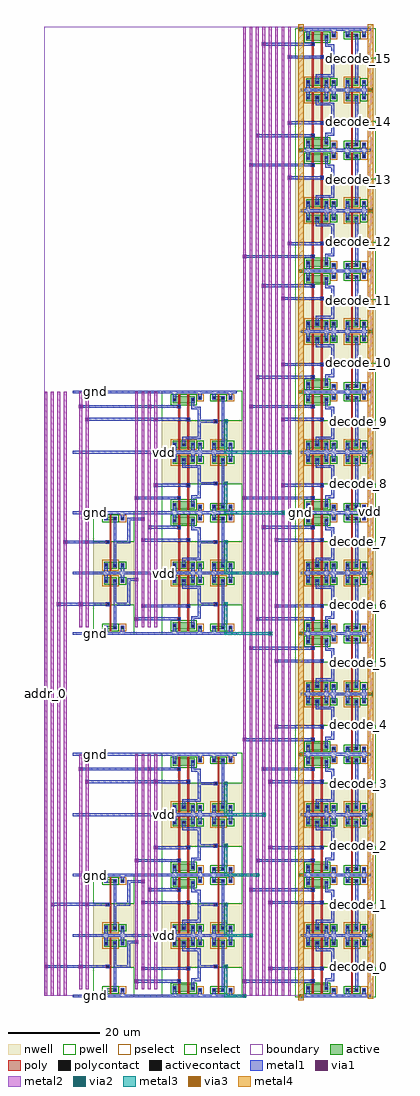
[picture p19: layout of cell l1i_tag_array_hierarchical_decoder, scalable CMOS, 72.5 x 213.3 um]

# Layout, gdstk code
import gdstk
lib = gdstk.Library(unit=1e-6, precision=1e-09)
def R(c, l, rs):  # rectangles x0, y0, x1, y1
    for r in rs: c.add(gdstk.rectangle(r[:2], r[2:], *l))
def A(c, l, x, y, w, h, nx, ny, dx, dy):  # array of equal rectangles
    R(c, l, [(x+i*dx, y+j*dy, x+i*dx+w, y+j*dy+h) for i in range(nx) for j in range(ny)])
via3 = (30, 0)
metal4 = (31, 0)
pwell = (41, 0)
nwell = (42, 0)
active = (43, 0)
pselect = (44, 0)
nselect = (45, 0)
poly = (46, 0)
polycontact = (47, 0)
activecontact = (48, 0)
metal1 = (49, 0)
via1 = (50, 0)
metal2 = (51, 0)
via2 = (61, 0)
metal3 = (62, 0)
boundary = (63, 0)

l1i_tag_array_contact_11 = lib.new_cell('l1i_tag_array_contact_11')
R(l1i_tag_array_contact_11, nwell, [(-1.2,-1.2,2,2)])
R(l1i_tag_array_contact_11, active, [(0,0,0.8,0.8)])
R(l1i_tag_array_contact_11, pselect, [(-0.4,-0.4,1.2,1.2)])
R(l1i_tag_array_contact_11, activecontact, [(0.2,0.2,0.6,0.6)])
R(l1i_tag_array_contact_11, metal1, [(0,0,0.8,0.8)])
R(l1i_tag_array_contact_11, boundary, [(-1.2,-1.2,2,2)])

l1i_tag_array_pmos_m1_w1 = lib.new_cell('l1i_tag_array_pmos_m1_w1_600_sm1_dm1_da_p')
R(l1i_tag_array_pmos_m1_w1, nwell, [(-1.2,-1.2,4,2.8)])
R(l1i_tag_array_pmos_m1_w1, active, [(0,0,2.8,1.6)])
R(l1i_tag_array_pmos_m1_w1, pselect, [(-0.4,-0.4,3.2,2)])
R(l1i_tag_array_pmos_m1_w1, poly, [(1.2,-0.4,1.6,2), (1.2,-0.4,1.6,2)])
R(l1i_tag_array_pmos_m1_w1, metal1, [(0,0.4,0.8,1.2), (2,0.4,2.8,1.2)])
R(l1i_tag_array_pmos_m1_w1, boundary, [(-1.2,-1.2,4,2.8)])
l1i_tag_array_pmos_m1_w1.add(gdstk.Reference(l1i_tag_array_contact_11, (0,0.4)))
l1i_tag_array_pmos_m1_w1.add(gdstk.Reference(l1i_tag_array_contact_11, (2,0.4)))
l1i_tag_array_pmos_m1_w1.add(gdstk.Label('G', (1.4,0.8), layer=46, texttype=0))
l1i_tag_array_pmos_m1_w1.add(gdstk.Label('S', (0.4,0.8), layer=49, texttype=0))
l1i_tag_array_pmos_m1_w1.add(gdstk.Label('D', (2.4,0.8), layer=49, texttype=0))

l1i_tag_array_contact_10 = lib.new_cell('l1i_tag_array_contact_10')
R(l1i_tag_array_contact_10, pwell, [(-1.2,-1.2,2,2)])
R(l1i_tag_array_contact_10, active, [(0,0,0.8,0.8)])
R(l1i_tag_array_contact_10, nselect, [(-0.4,-0.4,1.2,1.2)])
R(l1i_tag_array_contact_10, activecontact, [(0.2,0.2,0.6,0.6)])
R(l1i_tag_array_contact_10, metal1, [(0,0,0.8,0.8)])
R(l1i_tag_array_contact_10, boundary, [(-1.2,-1.2,2,2)])

l1i_tag_array_nmos_m1_w0 = lib.new_cell('l1i_tag_array_nmos_m1_w0_800_sm1_dm1_da_p')
R(l1i_tag_array_nmos_m1_w0, pwell, [(-1.2,-1.2,4,2)])
R(l1i_tag_array_nmos_m1_w0, active, [(0,0,2.8,0.8)])
R(l1i_tag_array_nmos_m1_w0, nselect, [(-0.4,-0.4,3.2,1.2)])
R(l1i_tag_array_nmos_m1_w0, poly, [(1.2,-0.4,1.6,1.2), (1.2,-0.4,1.6,1.2)])
R(l1i_tag_array_nmos_m1_w0, metal1, [(0,0,0.8,0.8), (2,0,2.8,0.8)])
R(l1i_tag_array_nmos_m1_w0, boundary, [(-1.2,-1.2,4,2)])
l1i_tag_array_nmos_m1_w0.add(gdstk.Reference(l1i_tag_array_contact_10, (0,0)))
l1i_tag_array_nmos_m1_w0.add(gdstk.Reference(l1i_tag_array_contact_10, (2,0)))
l1i_tag_array_nmos_m1_w0.add(gdstk.Label('G', (1.4,0.4), layer=46, texttype=0))
l1i_tag_array_nmos_m1_w0.add(gdstk.Label('S', (0.4,0.4), layer=49, texttype=0))
l1i_tag_array_nmos_m1_w0.add(gdstk.Label('D', (2.4,0.4), layer=49, texttype=0))

l1i_tag_array_contact_12 = lib.new_cell('l1i_tag_array_contact_12')
R(l1i_tag_array_contact_12, nwell, [(-1.2,-1.2,2,2)])
R(l1i_tag_array_contact_12, active, [(0,0,0.8,0.8)])
R(l1i_tag_array_contact_12, nselect, [(-0.4,-0.4,1.2,1.2)])
R(l1i_tag_array_contact_12, activecontact, [(0.2,0.2,0.6,0.6)])
R(l1i_tag_array_contact_12, metal1, [(0,0,0.8,0.8)])
R(l1i_tag_array_contact_12, boundary, [(-1.2,-1.2,2,2)])

l1i_tag_array_contact_13 = lib.new_cell('l1i_tag_array_contact_13')
R(l1i_tag_array_contact_13, pwell, [(-1.2,-1.2,2,2)])
R(l1i_tag_array_contact_13, active, [(0,0,0.8,0.8)])
R(l1i_tag_array_contact_13, pselect, [(-0.4,-0.4,1.2,1.2)])
R(l1i_tag_array_contact_13, activecontact, [(0.2,0.2,0.6,0.6)])
R(l1i_tag_array_contact_13, metal1, [(0,0,0.8,0.8)])
R(l1i_tag_array_contact_13, boundary, [(-1.2,-1.2,2,2)])

l1i_tag_array_contact_14 = lib.new_cell('l1i_tag_array_contact_14')
R(l1i_tag_array_contact_14, poly, [(0,0,0.8,0.8)])
R(l1i_tag_array_contact_14, polycontact, [(0.2,0.2,0.6,0.6)])
R(l1i_tag_array_contact_14, metal1, [(0,0,0.8,0.8)])
R(l1i_tag_array_contact_14, boundary, [(0,0,0.8,0.8)])

l1i_tag_array_pinv = lib.new_cell('l1i_tag_array_pinv')
R(l1i_tag_array_pinv, pwell, [(-1.2,-0.3,7.8,6.3)])
R(l1i_tag_array_pinv, nwell, [(-1.2,6.3,7.8,14.7)])
R(l1i_tag_array_pinv, poly, [(2.4,2.1,2.8,10.3), (2,6,2.4,6.8)])
R(l1i_tag_array_pinv, metal1, [(0,-0.3,6.6,0.3), (1.2,-0.3,2,0.9), (4.8,0,5.6,1.3), (3.3,0.9,3.9,11.9), (1.6,6,2.4,6.8), (3.6,6.1,4.2,6.7), (1.2,11.1,2,13.5), (4.8,11.5,5.6,13.2), (0,12.9,6.6,13.5)])
R(l1i_tag_array_pinv, boundary, [(0,0,6.6,13.2), (0,0,6.6,13.2)])
l1i_tag_array_pinv.add(gdstk.Reference(l1i_tag_array_pmos_m1_w1, (1.2,10.7)))
l1i_tag_array_pinv.add(gdstk.Reference(l1i_tag_array_nmos_m1_w0, (1.2,0.9)))
l1i_tag_array_pinv.add(gdstk.Reference(l1i_tag_array_contact_12, (4.8,11.1)))
l1i_tag_array_pinv.add(gdstk.Reference(l1i_tag_array_contact_13, (4.8,0.9)))
l1i_tag_array_pinv.add(gdstk.Reference(l1i_tag_array_contact_14, (1.6,6)))
l1i_tag_array_pinv.add(gdstk.Label('A', (2,6.4), layer=49, texttype=0))
l1i_tag_array_pinv.add(gdstk.Label('Z', (3.9,6.4), layer=49, texttype=0))
l1i_tag_array_pinv.add(gdstk.Label('gnd', (3.3,0), layer=49, texttype=0))
l1i_tag_array_pinv.add(gdstk.Label('vdd', (3.3,13.2), layer=49, texttype=0))

c_l1i_tag_array_pmos_m1_w1 = lib.new_cell('l1i_tag_array_pmos_m1_w1_600_sm1_dm1')
R(c_l1i_tag_array_pmos_m1_w1, nwell, [(-1.2,-1.2,4,2.8)])
R(c_l1i_tag_array_pmos_m1_w1, active, [(0,0,2.8,1.6)])
R(c_l1i_tag_array_pmos_m1_w1, pselect, [(-0.4,-0.4,3.2,2)])
R(c_l1i_tag_array_pmos_m1_w1, poly, [(1.2,-0.4,1.6,2), (1.2,-0.4,1.6,2)])
R(c_l1i_tag_array_pmos_m1_w1, metal1, [(0,0.4,0.8,1.2), (2,0.4,2.8,1.2)])
R(c_l1i_tag_array_pmos_m1_w1, boundary, [(-1.2,-1.2,4,2.8)])
c_l1i_tag_array_pmos_m1_w1.add(gdstk.Reference(l1i_tag_array_contact_11, (0,0.4)))
c_l1i_tag_array_pmos_m1_w1.add(gdstk.Reference(l1i_tag_array_contact_11, (2,0.4)))
c_l1i_tag_array_pmos_m1_w1.add(gdstk.Label('G', (1.4,0.8), layer=46, texttype=0))
c_l1i_tag_array_pmos_m1_w1.add(gdstk.Label('S', (0.4,0.8), layer=49, texttype=0))
c_l1i_tag_array_pmos_m1_w1.add(gdstk.Label('D', (2.4,0.8), layer=49, texttype=0))

l1i_tag_array_nmos_m1_w1 = lib.new_cell('l1i_tag_array_nmos_m1_w1_600_sm1_dactive')
R(l1i_tag_array_nmos_m1_w1, pwell, [(-1.2,-1.2,4,2.8)])
R(l1i_tag_array_nmos_m1_w1, active, [(0,0,2.8,1.6), (2.1,0.5,2.7,1.1)])
R(l1i_tag_array_nmos_m1_w1, nselect, [(-0.4,-0.4,3.2,2)])
R(l1i_tag_array_nmos_m1_w1, poly, [(1.2,-0.4,1.6,2), (1.2,-0.4,1.6,2)])
R(l1i_tag_array_nmos_m1_w1, metal1, [(0,0.4,0.8,1.2)])
R(l1i_tag_array_nmos_m1_w1, boundary, [(-1.2,-1.2,4,2.8)])
l1i_tag_array_nmos_m1_w1.add(gdstk.Reference(l1i_tag_array_contact_10, (0,0.4)))
l1i_tag_array_nmos_m1_w1.add(gdstk.Label('G', (1.4,0.8), layer=46, texttype=0))
l1i_tag_array_nmos_m1_w1.add(gdstk.Label('S', (0.4,0.8), layer=49, texttype=0))
l1i_tag_array_nmos_m1_w1.add(gdstk.Label('D', (2.4,0.8), layer=43, texttype=0))

c_l1i_tag_array_nmos_m1_w1 = lib.new_cell('l1i_tag_array_nmos_m1_w1_600_sactive_dm1')
R(c_l1i_tag_array_nmos_m1_w1, pwell, [(-1.2,-1.2,4,2.8)])
R(c_l1i_tag_array_nmos_m1_w1, active, [(0,0,2.8,1.6), (0.1,0.5,0.7,1.1)])
R(c_l1i_tag_array_nmos_m1_w1, nselect, [(-0.4,-0.4,3.2,2)])
R(c_l1i_tag_array_nmos_m1_w1, poly, [(1.2,-0.4,1.6,2), (1.2,-0.4,1.6,2)])
R(c_l1i_tag_array_nmos_m1_w1, metal1, [(2,0.4,2.8,1.2)])
R(c_l1i_tag_array_nmos_m1_w1, boundary, [(-1.2,-1.2,4,2.8)])
c_l1i_tag_array_nmos_m1_w1.add(gdstk.Reference(l1i_tag_array_contact_10, (2,0.4)))
c_l1i_tag_array_nmos_m1_w1.add(gdstk.Label('G', (1.4,0.8), layer=46, texttype=0))
c_l1i_tag_array_nmos_m1_w1.add(gdstk.Label('S', (0.4,0.8), layer=43, texttype=0))
c_l1i_tag_array_nmos_m1_w1.add(gdstk.Label('D', (2.4,0.8), layer=49, texttype=0))

l1i_tag_array_pnand2 = lib.new_cell('l1i_tag_array_pnand2')
R(l1i_tag_array_pnand2, pwell, [(-1.2,-0.3,9.8,6.3)])
R(l1i_tag_array_pnand2, nwell, [(-1.2,6.3,9.8,14.7)])
R(l1i_tag_array_pnand2, poly, [(2.4,2.8,2.6,3.6), (2.4,2.9,2.8,10.3), (4.4,2.9,4.8,10.3), (4.4,5.6,4.6,6.4)])
R(l1i_tag_array_pnand2, metal1, [(0,-0.3,8.6,0.3), (1.2,-0.3,2,1.3), (6.8,0,7.6,1.3), (5.3,2.1,5.9,3.5), (2.2,2.8,3,3.6), (5.3,3.2,5.9,3.8), (5.6,3.2,7,3.8), (6.7,3.2,7.3,3.8), (6.7,3.5,7.3,10.1), (4.2,5.6,5,6.4), (3.3,9.8,3.9,10.4), (3.6,9.8,7,10.4), (6.7,9.8,7.3,10.4), (3.3,10.1,3.9,11.1), (1.2,11.1,2,13.5), (5.2,11.1,6,13.5), (6.8,11.5,7.6,13.2), (0,12.9,8.6,13.5)])
R(l1i_tag_array_pnand2, boundary, [(0,0,8.6,13.2), (0,0,8.6,13.2)])
l1i_tag_array_pnand2.add(gdstk.Reference(c_l1i_tag_array_pmos_m1_w1, (1.2,10.7)))
l1i_tag_array_pnand2.add(gdstk.Reference(c_l1i_tag_array_pmos_m1_w1, (3.2,10.7)))
l1i_tag_array_pnand2.add(gdstk.Reference(l1i_tag_array_nmos_m1_w1, (1.2,0.9)))
l1i_tag_array_pnand2.add(gdstk.Reference(c_l1i_tag_array_nmos_m1_w1, (3.2,0.9)))
l1i_tag_array_pnand2.add(gdstk.Reference(l1i_tag_array_contact_12, (6.8,11.1)))
l1i_tag_array_pnand2.add(gdstk.Reference(l1i_tag_array_contact_13, (6.8,0.9)))
l1i_tag_array_pnand2.add(gdstk.Reference(l1i_tag_array_contact_14, (2.2,2.8)))
l1i_tag_array_pnand2.add(gdstk.Reference(l1i_tag_array_contact_14, (4.2,5.6)))
l1i_tag_array_pnand2.add(gdstk.Label('Z', (7,10.1), layer=49, texttype=0))
l1i_tag_array_pnand2.add(gdstk.Label('gnd', (4.3,0), layer=49, texttype=0))
l1i_tag_array_pnand2.add(gdstk.Label('vdd', (4.3,13.2), layer=49, texttype=0))
l1i_tag_array_pnand2.add(gdstk.Label('A', (2.6,3.2), layer=49, texttype=0))
l1i_tag_array_pnand2.add(gdstk.Label('B', (4.6,6), layer=49, texttype=0))

l1i_tag_array_and2_dec = lib.new_cell('l1i_tag_array_and2_dec')
R(l1i_tag_array_and2_dec, metal1, [(0,-0.3,15.2,0.3), (2.2,2.8,3,3.6), (4.2,5.6,5,6.4), (6.7,6.1,7.3,6.7), (7,6.1,10.6,6.7), (12.2,6.1,12.8,6.7), (6.7,6.4,7.3,10.1), (0,12.9,15.2,13.5)])
R(l1i_tag_array_and2_dec, boundary, [(0,0,15.2,13.2)])
l1i_tag_array_and2_dec.add(gdstk.Reference(l1i_tag_array_pnand2, (0,0)))
l1i_tag_array_and2_dec.add(gdstk.Reference(l1i_tag_array_pinv, (8.6,0)))
l1i_tag_array_and2_dec.add(gdstk.Label('Z', (12.5,6.4), layer=49, texttype=0))
l1i_tag_array_and2_dec.add(gdstk.Label('A', (2.6,3.2), layer=49, texttype=0))
l1i_tag_array_and2_dec.add(gdstk.Label('B', (4.6,6), layer=49, texttype=0))
l1i_tag_array_and2_dec.add(gdstk.Label('gnd', (7.6,0), layer=49, texttype=0))
l1i_tag_array_and2_dec.add(gdstk.Label('vdd', (7.6,13.2), layer=49, texttype=0))

l1i_tag_array_contact_15 = lib.new_cell('l1i_tag_array_contact_15')
R(l1i_tag_array_contact_15, metal1, [(0,0,0.8,0.8)])
R(l1i_tag_array_contact_15, via1, [(0.2,0.2,0.6,0.6)])
R(l1i_tag_array_contact_15, metal2, [(0,0,0.8,0.8)])
R(l1i_tag_array_contact_15, boundary, [(0,0,0.8,0.8)])

l1i_tag_array_contact_17 = lib.new_cell('l1i_tag_array_contact_17')
R(l1i_tag_array_contact_17, metal1, [(0,0,0.8,0.8)])
R(l1i_tag_array_contact_17, via1, [(0.2,0.2,0.6,0.6)])
R(l1i_tag_array_contact_17, metal2, [(0,0,0.8,0.8)])
R(l1i_tag_array_contact_17, boundary, [(0,0,0.8,0.8)])

l1i_tag_array_contact_18 = lib.new_cell('l1i_tag_array_contact_18')
R(l1i_tag_array_contact_18, metal2, [(0,0,0.8,0.8)])
R(l1i_tag_array_contact_18, via2, [(0.2,0.2,0.6,0.6)])
R(l1i_tag_array_contact_18, metal3, [(0,0,0.8,0.8)])
R(l1i_tag_array_contact_18, boundary, [(0,0,0.8,0.8)])

l1i_tag_array_hierarchic = lib.new_cell('l1i_tag_array_hierarchical_predecode2x4')
R(l1i_tag_array_hierarchic, metal1, [(0,-0.3,35.8,0.3), (13.9,2.9,23.2,3.5), (22.9,2.9,23.5,3.5), (15.3,5.7,25.2,6.3), (24.9,5.7,25.5,6.3), (1.7,6.1,7.6,6.7), (7.3,6.1,7.9,6.7), (9.5,6.1,10.1,6.7), (9.8,6.1,12.2,6.7), (11.9,6.1,12.5,6.7), (32.8,6.1,33.4,6.7), (11.9,6.4,12.5,11.8), (11.9,11.5,12.5,12.1), (12.2,11.5,13.9,12.1), (0,12.9,35.8,13.5), (0,12.9,35.8,13.5), (3.1,19.7,7.6,20.3), (7.3,19.7,7.9,20.3), (9.5,19.7,10.1,20.3), (9.8,19.7,12.2,20.3), (11.9,19.7,12.5,20.3), (32.8,19.7,33.4,20.3), (11.9,20,12.5,25), (15.3,20.1,25.2,20.7), (24.9,20.1,25.5,20.7), (16.7,22.9,23.2,23.5), (22.9,22.9,23.5,23.5), (11.9,24.7,12.5,25.3), (12.2,24.7,15.3,25.3), (0,26.1,35.8,26.7), (0,26.1,35.8,26.7), (13.9,29.3,23.2,29.9), (22.9,29.3,23.5,29.9), (18.1,32.1,25.2,32.7), (24.9,32.1,25.5,32.7), (32.8,32.5,33.4,33.1), (0,39.3,35.8,39.9), (0,39.3,35.8,39.9), (32.8,46.1,33.4,46.7), (3.1,46.5,18.1,47.1), (18.1,46.5,25.2,47.1), (24.9,46.5,25.5,47.1), (1.7,49.3,16.7,49.9), (16.7,49.3,23.2,49.9), (22.9,49.3,23.5,49.9), (0,52.5,35.8,53.1)])
A(l1i_tag_array_hierarchic, metal2, 13.6, 1.4, 0.6, 51.4, 4, 1, 1.4, 0)
R(l1i_tag_array_hierarchic, metal2, [(1.4,1.4,2,52.8), (2.8,1.4,3.4,52.8), (1.3,6,2.1,6.8), (2.7,19.6,3.5,20.4)])
A(l1i_tag_array_hierarchic, metal3, 4.6, -0.4, 0.8, 0.8, 1, 3, 0, 26.4)
R(l1i_tag_array_hierarchic, metal3, [(19.6,12.8,20.4,13.6), (19.6,39.2,20.4,40)])
R(l1i_tag_array_hierarchic, boundary, [(0,0,35.8,52.8)])
l1i_tag_array_hierarchic.add(gdstk.Reference(l1i_tag_array_pinv, (5.6,0)))
l1i_tag_array_hierarchic.add(gdstk.Reference(l1i_tag_array_pinv, (5.6,26.4), x_reflection=True))
l1i_tag_array_hierarchic.add(gdstk.Reference(l1i_tag_array_and2_dec, (20.6,0)))
l1i_tag_array_hierarchic.add(gdstk.Reference(l1i_tag_array_and2_dec, (20.6,26.4), x_reflection=True))
l1i_tag_array_hierarchic.add(gdstk.Reference(l1i_tag_array_and2_dec, (20.6,26.4)))
l1i_tag_array_hierarchic.add(gdstk.Reference(l1i_tag_array_and2_dec, (20.6,52.8), x_reflection=True))
l1i_tag_array_hierarchic.add(gdstk.Reference(l1i_tag_array_contact_15, (1.3,6)))
l1i_tag_array_hierarchic.add(gdstk.Reference(l1i_tag_array_contact_15, (2.7,19.6)))
l1i_tag_array_hierarchic.add(gdstk.Reference(l1i_tag_array_contact_15, (13.5,2.8)))
l1i_tag_array_hierarchic.add(gdstk.Reference(l1i_tag_array_contact_15, (14.9,5.6)))
l1i_tag_array_hierarchic.add(gdstk.Reference(l1i_tag_array_contact_15, (16.3,22.8)))
l1i_tag_array_hierarchic.add(gdstk.Reference(l1i_tag_array_contact_15, (14.9,20)))
l1i_tag_array_hierarchic.add(gdstk.Reference(l1i_tag_array_contact_15, (13.5,29.2)))
l1i_tag_array_hierarchic.add(gdstk.Reference(l1i_tag_array_contact_15, (17.7,32)))
l1i_tag_array_hierarchic.add(gdstk.Reference(l1i_tag_array_contact_15, (16.3,49.2)))
l1i_tag_array_hierarchic.add(gdstk.Reference(l1i_tag_array_contact_15, (17.7,46.4)))
l1i_tag_array_hierarchic.add(gdstk.Reference(l1i_tag_array_contact_15, (13.5,11.4)))
l1i_tag_array_hierarchic.add(gdstk.Reference(l1i_tag_array_contact_15, (14.9,24.6)))
l1i_tag_array_hierarchic.add(gdstk.Reference(l1i_tag_array_contact_17, (1.3,49.2)))
l1i_tag_array_hierarchic.add(gdstk.Reference(l1i_tag_array_contact_17, (16.3,49.2)))
l1i_tag_array_hierarchic.add(gdstk.Reference(l1i_tag_array_contact_17, (2.7,46.4)))
l1i_tag_array_hierarchic.add(gdstk.Reference(l1i_tag_array_contact_17, (17.7,46.4)))
l1i_tag_array_hierarchic.add(gdstk.Reference(l1i_tag_array_contact_17, (19.6,12.8)))
l1i_tag_array_hierarchic.add(gdstk.Reference(l1i_tag_array_contact_18, (19.6,12.8)))
l1i_tag_array_hierarchic.add(gdstk.Reference(l1i_tag_array_contact_17, (4.6,-0.4)))
l1i_tag_array_hierarchic.add(gdstk.Reference(l1i_tag_array_contact_18, (4.6,-0.4)))
l1i_tag_array_hierarchic.add(gdstk.Reference(l1i_tag_array_contact_17, (19.6,12.8)))
l1i_tag_array_hierarchic.add(gdstk.Reference(l1i_tag_array_contact_18, (19.6,12.8)))
l1i_tag_array_hierarchic.add(gdstk.Reference(l1i_tag_array_contact_17, (4.6,26)))
l1i_tag_array_hierarchic.add(gdstk.Reference(l1i_tag_array_contact_18, (4.6,26)))
l1i_tag_array_hierarchic.add(gdstk.Reference(l1i_tag_array_contact_17, (19.6,39.2)))
l1i_tag_array_hierarchic.add(gdstk.Reference(l1i_tag_array_contact_18, (19.6,39.2)))
l1i_tag_array_hierarchic.add(gdstk.Reference(l1i_tag_array_contact_17, (4.6,26)))
l1i_tag_array_hierarchic.add(gdstk.Reference(l1i_tag_array_contact_18, (4.6,26)))
l1i_tag_array_hierarchic.add(gdstk.Reference(l1i_tag_array_contact_17, (19.6,39.2)))
l1i_tag_array_hierarchic.add(gdstk.Reference(l1i_tag_array_contact_18, (19.6,39.2)))
l1i_tag_array_hierarchic.add(gdstk.Reference(l1i_tag_array_contact_17, (4.6,52.4)))
l1i_tag_array_hierarchic.add(gdstk.Reference(l1i_tag_array_contact_18, (4.6,52.4)))
l1i_tag_array_hierarchic.add(gdstk.Label('in_0', (1.7,6.4), layer=51, texttype=0))
l1i_tag_array_hierarchic.add(gdstk.Label('in_1', (3.1,20), layer=51, texttype=0))
l1i_tag_array_hierarchic.add(gdstk.Label('out_0', (33.1,6.4), layer=49, texttype=0))
l1i_tag_array_hierarchic.add(gdstk.Label('out_1', (33.1,20), layer=49, texttype=0))
l1i_tag_array_hierarchic.add(gdstk.Label('out_2', (33.1,32.8), layer=49, texttype=0))
l1i_tag_array_hierarchic.add(gdstk.Label('out_3', (33.1,46.4), layer=49, texttype=0))
l1i_tag_array_hierarchic.add(gdstk.Label('vdd', (20,39.6), layer=62, texttype=0))
l1i_tag_array_hierarchic.add(gdstk.Label('vdd', (20,13.2), layer=62, texttype=0))
l1i_tag_array_hierarchic.add(gdstk.Label('gnd', (5,0), layer=62, texttype=0))
l1i_tag_array_hierarchic.add(gdstk.Label('gnd', (5,26.4), layer=62, texttype=0))
l1i_tag_array_hierarchic.add(gdstk.Label('gnd', (5,52.8), layer=62, texttype=0))

l1i_tag_array_contact_20 = lib.new_cell('l1i_tag_array_contact_20')
R(l1i_tag_array_contact_20, metal2, [(0,0,0.8,0.8)])
R(l1i_tag_array_contact_20, via2, [(0.2,0.2,0.6,0.6)])
R(l1i_tag_array_contact_20, metal3, [(0,0,0.8,0.8)])
R(l1i_tag_array_contact_20, boundary, [(0,0,0.8,0.8)])

l1i_tag_array_contact_21 = lib.new_cell('l1i_tag_array_contact_21')
R(l1i_tag_array_contact_21, via3, [(0.4,0.4,0.8,0.8)])
R(l1i_tag_array_contact_21, metal4, [(0,0,1.2,1.2)])
R(l1i_tag_array_contact_21, metal3, [(0.2,0.2,1,1)])
R(l1i_tag_array_contact_21, boundary, [(0,0,1.2,1.2)])

c_l1i_tag_array_hierarchic = lib.new_cell('l1i_tag_array_hierarchical_decoder')
R(c_l1i_tag_array_hierarchic, metal4, [(55.5,-0.9,56.7,212.4), (70.7,-0.6,71.9,212.4)])
A(c_l1i_tag_array_hierarchic, metal1, 43.8, 2.9, 14.9, 0.6, 1, 4, 0, 52.8)
A(c_l1i_tag_array_hierarchic, metal1, 45.2, 22.9, 13.5, 0.6, 1, 4, 0, 52.8)
A(c_l1i_tag_array_hierarchic, metal1, 46.6, 29.3, 12.1, 0.6, 1, 4, 0, 52.8)
A(c_l1i_tag_array_hierarchic, metal1, 48, 49.3, 10.7, 0.6, 1, 4, 0, 52.8)
R(c_l1i_tag_array_hierarchic, metal1, [(58.4,2.9,59,3.5), (49.4,5.7,60.7,6.3), (60.4,5.7,61,6.3), (0.4,6.1,8,6.7), (68.3,6.1,68.9,6.7), (1.8,19.7,9.4,20.3), (68.3,19.7,68.9,20.3), (49.4,20.1,60.7,20.7), (60.4,20.1,61,20.7), (58.4,22.9,59,23.5), (58.4,29.3,59,29.9), (49.4,32.1,60.7,32.7), (60.4,32.1,61,32.7), (68.3,32.5,68.9,33.1), (68.3,46.1,68.9,46.7), (49.4,46.5,60.7,47.1), (60.4,46.5,61,47.1), (58.4,49.3,59,49.9), (58.4,55.7,59,56.3), (50.8,58.5,60.7,59.1), (60.4,58.5,61,59.1), (68.3,58.9,68.9,59.5), (68.3,72.5,68.9,73.1), (50.8,72.9,60.7,73.5), (60.4,72.9,61,73.5), (58.4,75.7,59,76.3), (58.4,82.1,59,82.7), (50.8,84.9,60.7,85.5), (60.4,84.9,61,85.5), (3.2,85.3,8,85.9), (68.3,85.3,68.9,85.9), (4.6,98.9,9.4,99.5), (68.3,98.9,68.9,99.5), (50.8,99.3,60.7,99.9), (60.4,99.3,61,99.9), (58.4,102.1,59,102.7), (58.4,108.5,59,109.1), (52.2,111.3,60.7,111.9), (60.4,111.3,61,111.9), (68.3,111.7,68.9,112.3), (68.3,125.3,68.9,125.9), (52.2,125.7,60.7,126.3), (60.4,125.7,61,126.3), (58.4,128.5,59,129.1), (58.4,134.9,59,135.5), (52.2,137.7,60.7,138.3), (60.4,137.7,61,138.3), (68.3,138.1,68.9,138.7), (68.3,151.7,68.9,152.3), (52.2,152.1,60.7,152.7), (60.4,152.1,61,152.7), (58.4,154.9,59,155.5), (58.4,161.3,59,161.9), (53.6,164.1,60.7,164.7), (60.4,164.1,61,164.7), (68.3,164.5,68.9,165.1), (68.3,178.1,68.9,178.7), (53.6,178.5,60.7,179.1), (60.4,178.5,61,179.1), (58.4,181.3,59,181.9), (58.4,187.7,59,188.3), (53.6,190.5,60.7,191.1), (60.4,190.5,61,191.1), (68.3,190.9,68.9,191.5), (68.3,204.5,68.9,205.1), (53.6,204.9,60.7,205.5), (60.4,204.9,61,205.5), (58.4,207.7,59,208.3)])
A(c_l1i_tag_array_hierarchic, metal2, 0.1, 0, 0.6, 132, 4, 1, 1.4, 0)
A(c_l1i_tag_array_hierarchic, metal2, 43.5, 0, 0.6, 211.8, 8, 1, 1.4, 0)
A(c_l1i_tag_array_hierarchic, metal3, 10.9, -0.4, 0.8, 0.8, 1, 6, 0, 26.4)
A(c_l1i_tag_array_hierarchic, metal3, 39.4, -0.3, 0.6, 0.6, 1, 4, 0, 13.2)
A(c_l1i_tag_array_hierarchic, metal3, 39.4, 78.9, 0.6, 0.6, 1, 4, 0, 13.2)
R(c_l1i_tag_array_hierarchic, metal3, [(39.7,-0.3,43.8,0.3), (39.4,0,40,6.4), (25.9,12.8,26.7,13.6), (39.7,12.9,45.2,13.5), (39.4,13.2,40,20), (39.7,26.1,46.6,26.7), (39.4,26.4,40,32.8), (25.9,39.2,26.7,40), (39.7,39.3,48,39.9), (39.4,39.6,40,46.4), (39.7,78.9,49.4,79.5), (39.4,79.2,40,85.6), (25.9,92,26.7,92.8), (39.7,92.1,50.8,92.7), (39.4,92.4,40,99.2), (39.7,105.3,52.2,105.9), (39.4,105.6,40,112), (25.9,118.4,26.7,119.2), (39.7,118.5,53.6,119.1), (39.4,118.8,40,125.6)])
R(c_l1i_tag_array_hierarchic, boundary, [(0,0,71.3,211.8)])
c_l1i_tag_array_hierarchic.add(gdstk.Reference(l1i_tag_array_hierarchic, (6.3,0)))
c_l1i_tag_array_hierarchic.add(gdstk.Reference(l1i_tag_array_hierarchic, (6.3,79.2)))
c_l1i_tag_array_hierarchic.add(gdstk.Reference(l1i_tag_array_and2_dec, (56.1,0)))
c_l1i_tag_array_hierarchic.add(gdstk.Reference(l1i_tag_array_and2_dec, (56.1,26.4), x_reflection=True))
c_l1i_tag_array_hierarchic.add(gdstk.Reference(l1i_tag_array_and2_dec, (56.1,26.4)))
c_l1i_tag_array_hierarchic.add(gdstk.Reference(l1i_tag_array_and2_dec, (56.1,52.8), x_reflection=True))
c_l1i_tag_array_hierarchic.add(gdstk.Reference(l1i_tag_array_and2_dec, (56.1,52.8)))
c_l1i_tag_array_hierarchic.add(gdstk.Reference(l1i_tag_array_and2_dec, (56.1,79.2), x_reflection=True))
c_l1i_tag_array_hierarchic.add(gdstk.Reference(l1i_tag_array_and2_dec, (56.1,79.2)))
c_l1i_tag_array_hierarchic.add(gdstk.Reference(l1i_tag_array_and2_dec, (56.1,105.6), x_reflection=True))
c_l1i_tag_array_hierarchic.add(gdstk.Reference(l1i_tag_array_and2_dec, (56.1,105.6)))
c_l1i_tag_array_hierarchic.add(gdstk.Reference(l1i_tag_array_and2_dec, (56.1,132), x_reflection=True))
c_l1i_tag_array_hierarchic.add(gdstk.Reference(l1i_tag_array_and2_dec, (56.1,132)))
c_l1i_tag_array_hierarchic.add(gdstk.Reference(l1i_tag_array_and2_dec, (56.1,158.4), x_reflection=True))
c_l1i_tag_array_hierarchic.add(gdstk.Reference(l1i_tag_array_and2_dec, (56.1,158.4)))
c_l1i_tag_array_hierarchic.add(gdstk.Reference(l1i_tag_array_and2_dec, (56.1,184.8), x_reflection=True))
c_l1i_tag_array_hierarchic.add(gdstk.Reference(l1i_tag_array_and2_dec, (56.1,184.8)))
c_l1i_tag_array_hierarchic.add(gdstk.Reference(l1i_tag_array_and2_dec, (56.1,211.2), x_reflection=True))
c_l1i_tag_array_hierarchic.add(gdstk.Reference(l1i_tag_array_contact_17, (7.6,6)))
c_l1i_tag_array_hierarchic.add(gdstk.Reference(l1i_tag_array_contact_15, (0,6)))
c_l1i_tag_array_hierarchic.add(gdstk.Reference(l1i_tag_array_contact_17, (9,19.6)))
c_l1i_tag_array_hierarchic.add(gdstk.Reference(l1i_tag_array_contact_15, (1.4,19.6)))
c_l1i_tag_array_hierarchic.add(gdstk.Reference(l1i_tag_array_contact_17, (7.6,85.2)))
c_l1i_tag_array_hierarchic.add(gdstk.Reference(l1i_tag_array_contact_15, (2.8,85.2)))
c_l1i_tag_array_hierarchic.add(gdstk.Reference(l1i_tag_array_contact_17, (9,98.8)))
c_l1i_tag_array_hierarchic.add(gdstk.Reference(l1i_tag_array_contact_15, (4.2,98.8)))
c_l1i_tag_array_hierarchic.add(gdstk.Reference(l1i_tag_array_contact_15, (43.4,2.8)))
c_l1i_tag_array_hierarchic.add(gdstk.Reference(l1i_tag_array_contact_15, (49,5.6)))
c_l1i_tag_array_hierarchic.add(gdstk.Reference(l1i_tag_array_contact_15, (44.8,22.8)))
c_l1i_tag_array_hierarchic.add(gdstk.Reference(l1i_tag_array_contact_15, (49,20)))
c_l1i_tag_array_hierarchic.add(gdstk.Reference(l1i_tag_array_contact_15, (46.2,29.2)))
c_l1i_tag_array_hierarchic.add(gdstk.Reference(l1i_tag_array_contact_15, (49,32)))
c_l1i_tag_array_hierarchic.add(gdstk.Reference(l1i_tag_array_contact_15, (47.6,49.2)))
c_l1i_tag_array_hierarchic.add(gdstk.Reference(l1i_tag_array_contact_15, (49,46.4)))
c_l1i_tag_array_hierarchic.add(gdstk.Reference(l1i_tag_array_contact_15, (43.4,55.6)))
c_l1i_tag_array_hierarchic.add(gdstk.Reference(l1i_tag_array_contact_15, (50.4,58.4)))
c_l1i_tag_array_hierarchic.add(gdstk.Reference(l1i_tag_array_contact_15, (44.8,75.6)))
c_l1i_tag_array_hierarchic.add(gdstk.Reference(l1i_tag_array_contact_15, (50.4,72.8)))
c_l1i_tag_array_hierarchic.add(gdstk.Reference(l1i_tag_array_contact_15, (46.2,82)))
c_l1i_tag_array_hierarchic.add(gdstk.Reference(l1i_tag_array_contact_15, (50.4,84.8)))
c_l1i_tag_array_hierarchic.add(gdstk.Reference(l1i_tag_array_contact_15, (47.6,102)))
c_l1i_tag_array_hierarchic.add(gdstk.Reference(l1i_tag_array_contact_15, (50.4,99.2)))
c_l1i_tag_array_hierarchic.add(gdstk.Reference(l1i_tag_array_contact_15, (43.4,108.4)))
c_l1i_tag_array_hierarchic.add(gdstk.Reference(l1i_tag_array_contact_15, (51.8,111.2)))
c_l1i_tag_array_hierarchic.add(gdstk.Reference(l1i_tag_array_contact_15, (44.8,128.4)))
c_l1i_tag_array_hierarchic.add(gdstk.Reference(l1i_tag_array_contact_15, (51.8,125.6)))
c_l1i_tag_array_hierarchic.add(gdstk.Reference(l1i_tag_array_contact_15, (46.2,134.8)))
c_l1i_tag_array_hierarchic.add(gdstk.Reference(l1i_tag_array_contact_15, (51.8,137.6)))
c_l1i_tag_array_hierarchic.add(gdstk.Reference(l1i_tag_array_contact_15, (47.6,154.8)))
c_l1i_tag_array_hierarchic.add(gdstk.Reference(l1i_tag_array_contact_15, (51.8,152)))
c_l1i_tag_array_hierarchic.add(gdstk.Reference(l1i_tag_array_contact_15, (43.4,161.2)))
c_l1i_tag_array_hierarchic.add(gdstk.Reference(l1i_tag_array_contact_15, (53.2,164)))
c_l1i_tag_array_hierarchic.add(gdstk.Reference(l1i_tag_array_contact_15, (44.8,181.2)))
c_l1i_tag_array_hierarchic.add(gdstk.Reference(l1i_tag_array_contact_15, (53.2,178.4)))
c_l1i_tag_array_hierarchic.add(gdstk.Reference(l1i_tag_array_contact_15, (46.2,187.6)))
c_l1i_tag_array_hierarchic.add(gdstk.Reference(l1i_tag_array_contact_15, (53.2,190.4)))
c_l1i_tag_array_hierarchic.add(gdstk.Reference(l1i_tag_array_contact_15, (47.6,207.6)))
c_l1i_tag_array_hierarchic.add(gdstk.Reference(l1i_tag_array_contact_15, (53.2,204.8)))
c_l1i_tag_array_hierarchic.add(gdstk.Reference(l1i_tag_array_contact_17, (39.3,6)))
c_l1i_tag_array_hierarchic.add(gdstk.Reference(l1i_tag_array_contact_18, (39.3,6)))
c_l1i_tag_array_hierarchic.add(gdstk.Reference(l1i_tag_array_contact_20, (43.4,-0.4)))
c_l1i_tag_array_hierarchic.add(gdstk.Reference(l1i_tag_array_contact_17, (39.3,19.6)))
c_l1i_tag_array_hierarchic.add(gdstk.Reference(l1i_tag_array_contact_18, (39.3,19.6)))
c_l1i_tag_array_hierarchic.add(gdstk.Reference(l1i_tag_array_contact_20, (44.8,12.8)))
c_l1i_tag_array_hierarchic.add(gdstk.Reference(l1i_tag_array_contact_17, (39.3,32.4)))
c_l1i_tag_array_hierarchic.add(gdstk.Reference(l1i_tag_array_contact_18, (39.3,32.4)))
c_l1i_tag_array_hierarchic.add(gdstk.Reference(l1i_tag_array_contact_20, (46.2,26)))
c_l1i_tag_array_hierarchic.add(gdstk.Reference(l1i_tag_array_contact_17, (39.3,46)))
c_l1i_tag_array_hierarchic.add(gdstk.Reference(l1i_tag_array_contact_18, (39.3,46)))
c_l1i_tag_array_hierarchic.add(gdstk.Reference(l1i_tag_array_contact_20, (47.6,39.2)))
c_l1i_tag_array_hierarchic.add(gdstk.Reference(l1i_tag_array_contact_17, (39.3,85.2)))
c_l1i_tag_array_hierarchic.add(gdstk.Reference(l1i_tag_array_contact_18, (39.3,85.2)))
c_l1i_tag_array_hierarchic.add(gdstk.Reference(l1i_tag_array_contact_20, (49,78.8)))
c_l1i_tag_array_hierarchic.add(gdstk.Reference(l1i_tag_array_contact_17, (39.3,98.8)))
c_l1i_tag_array_hierarchic.add(gdstk.Reference(l1i_tag_array_contact_18, (39.3,98.8)))
c_l1i_tag_array_hierarchic.add(gdstk.Reference(l1i_tag_array_contact_20, (50.4,92)))
c_l1i_tag_array_hierarchic.add(gdstk.Reference(l1i_tag_array_contact_17, (39.3,111.6)))
c_l1i_tag_array_hierarchic.add(gdstk.Reference(l1i_tag_array_contact_18, (39.3,111.6)))
c_l1i_tag_array_hierarchic.add(gdstk.Reference(l1i_tag_array_contact_20, (51.8,105.2)))
c_l1i_tag_array_hierarchic.add(gdstk.Reference(l1i_tag_array_contact_17, (39.3,125.2)))
c_l1i_tag_array_hierarchic.add(gdstk.Reference(l1i_tag_array_contact_18, (39.3,125.2)))
c_l1i_tag_array_hierarchic.add(gdstk.Reference(l1i_tag_array_contact_20, (53.2,118.4)))
c_l1i_tag_array_hierarchic.add(gdstk.Reference(l1i_tag_array_contact_17, (70.9,12.8)))
c_l1i_tag_array_hierarchic.add(gdstk.Reference(l1i_tag_array_contact_18, (70.9,12.8)))
c_l1i_tag_array_hierarchic.add(gdstk.Reference(l1i_tag_array_contact_21, (70.7,12.6)))
c_l1i_tag_array_hierarchic.add(gdstk.Reference(l1i_tag_array_contact_17, (70.9,12.8)))
c_l1i_tag_array_hierarchic.add(gdstk.Reference(l1i_tag_array_contact_18, (70.9,12.8)))
c_l1i_tag_array_hierarchic.add(gdstk.Reference(l1i_tag_array_contact_21, (70.7,12.6)))
c_l1i_tag_array_hierarchic.add(gdstk.Reference(l1i_tag_array_contact_17, (70.9,39.2)))
c_l1i_tag_array_hierarchic.add(gdstk.Reference(l1i_tag_array_contact_18, (70.9,39.2)))
c_l1i_tag_array_hierarchic.add(gdstk.Reference(l1i_tag_array_contact_21, (70.7,39)))
c_l1i_tag_array_hierarchic.add(gdstk.Reference(l1i_tag_array_contact_17, (70.9,39.2)))
c_l1i_tag_array_hierarchic.add(gdstk.Reference(l1i_tag_array_contact_18, (70.9,39.2)))
c_l1i_tag_array_hierarchic.add(gdstk.Reference(l1i_tag_array_contact_21, (70.7,39)))
c_l1i_tag_array_hierarchic.add(gdstk.Reference(l1i_tag_array_contact_17, (70.9,65.6)))
c_l1i_tag_array_hierarchic.add(gdstk.Reference(l1i_tag_array_contact_18, (70.9,65.6)))
c_l1i_tag_array_hierarchic.add(gdstk.Reference(l1i_tag_array_contact_21, (70.7,65.4)))
c_l1i_tag_array_hierarchic.add(gdstk.Reference(l1i_tag_array_contact_17, (70.9,65.6)))
c_l1i_tag_array_hierarchic.add(gdstk.Reference(l1i_tag_array_contact_18, (70.9,65.6)))
c_l1i_tag_array_hierarchic.add(gdstk.Reference(l1i_tag_array_contact_21, (70.7,65.4)))
c_l1i_tag_array_hierarchic.add(gdstk.Reference(l1i_tag_array_contact_17, (70.9,92)))
c_l1i_tag_array_hierarchic.add(gdstk.Reference(l1i_tag_array_contact_18, (70.9,92)))
c_l1i_tag_array_hierarchic.add(gdstk.Reference(l1i_tag_array_contact_21, (70.7,91.8)))
c_l1i_tag_array_hierarchic.add(gdstk.Reference(l1i_tag_array_contact_17, (70.9,92)))
c_l1i_tag_array_hierarchic.add(gdstk.Reference(l1i_tag_array_contact_18, (70.9,92)))
c_l1i_tag_array_hierarchic.add(gdstk.Reference(l1i_tag_array_contact_21, (70.7,91.8)))
c_l1i_tag_array_hierarchic.add(gdstk.Reference(l1i_tag_array_contact_17, (70.9,118.4)))
c_l1i_tag_array_hierarchic.add(gdstk.Reference(l1i_tag_array_contact_18, (70.9,118.4)))
c_l1i_tag_array_hierarchic.add(gdstk.Reference(l1i_tag_array_contact_21, (70.7,118.2)))
c_l1i_tag_array_hierarchic.add(gdstk.Reference(l1i_tag_array_contact_17, (70.9,118.4)))
c_l1i_tag_array_hierarchic.add(gdstk.Reference(l1i_tag_array_contact_18, (70.9,118.4)))
c_l1i_tag_array_hierarchic.add(gdstk.Reference(l1i_tag_array_contact_21, (70.7,118.2)))
c_l1i_tag_array_hierarchic.add(gdstk.Reference(l1i_tag_array_contact_17, (70.9,144.8)))
c_l1i_tag_array_hierarchic.add(gdstk.Reference(l1i_tag_array_contact_18, (70.9,144.8)))
c_l1i_tag_array_hierarchic.add(gdstk.Reference(l1i_tag_array_contact_21, (70.7,144.6)))
c_l1i_tag_array_hierarchic.add(gdstk.Reference(l1i_tag_array_contact_17, (70.9,144.8)))
c_l1i_tag_array_hierarchic.add(gdstk.Reference(l1i_tag_array_contact_18, (70.9,144.8)))
c_l1i_tag_array_hierarchic.add(gdstk.Reference(l1i_tag_array_contact_21, (70.7,144.6)))
c_l1i_tag_array_hierarchic.add(gdstk.Reference(l1i_tag_array_contact_17, (70.9,171.2)))
c_l1i_tag_array_hierarchic.add(gdstk.Reference(l1i_tag_array_contact_18, (70.9,171.2)))
c_l1i_tag_array_hierarchic.add(gdstk.Reference(l1i_tag_array_contact_21, (70.7,171)))
c_l1i_tag_array_hierarchic.add(gdstk.Reference(l1i_tag_array_contact_17, (70.9,171.2)))
c_l1i_tag_array_hierarchic.add(gdstk.Reference(l1i_tag_array_contact_18, (70.9,171.2)))
c_l1i_tag_array_hierarchic.add(gdstk.Reference(l1i_tag_array_contact_21, (70.7,171)))
c_l1i_tag_array_hierarchic.add(gdstk.Reference(l1i_tag_array_contact_17, (70.9,197.6)))
c_l1i_tag_array_hierarchic.add(gdstk.Reference(l1i_tag_array_contact_18, (70.9,197.6)))
c_l1i_tag_array_hierarchic.add(gdstk.Reference(l1i_tag_array_contact_21, (70.7,197.4)))
c_l1i_tag_array_hierarchic.add(gdstk.Reference(l1i_tag_array_contact_17, (70.9,197.6)))
c_l1i_tag_array_hierarchic.add(gdstk.Reference(l1i_tag_array_contact_18, (70.9,197.6)))
c_l1i_tag_array_hierarchic.add(gdstk.Reference(l1i_tag_array_contact_21, (70.7,197.4)))
c_l1i_tag_array_hierarchic.add(gdstk.Reference(l1i_tag_array_contact_17, (55.7,-0.4)))
c_l1i_tag_array_hierarchic.add(gdstk.Reference(l1i_tag_array_contact_18, (55.7,-0.4)))
c_l1i_tag_array_hierarchic.add(gdstk.Reference(l1i_tag_array_contact_21, (55.5,-0.6)))
c_l1i_tag_array_hierarchic.add(gdstk.Reference(l1i_tag_array_contact_17, (55.7,26)))
c_l1i_tag_array_hierarchic.add(gdstk.Reference(l1i_tag_array_contact_18, (55.7,26)))
c_l1i_tag_array_hierarchic.add(gdstk.Reference(l1i_tag_array_contact_21, (55.5,25.8)))
c_l1i_tag_array_hierarchic.add(gdstk.Reference(l1i_tag_array_contact_17, (55.7,26)))
c_l1i_tag_array_hierarchic.add(gdstk.Reference(l1i_tag_array_contact_18, (55.7,26)))
c_l1i_tag_array_hierarchic.add(gdstk.Reference(l1i_tag_array_contact_21, (55.5,25.8)))
c_l1i_tag_array_hierarchic.add(gdstk.Reference(l1i_tag_array_contact_17, (55.7,52.4)))
c_l1i_tag_array_hierarchic.add(gdstk.Reference(l1i_tag_array_contact_18, (55.7,52.4)))
c_l1i_tag_array_hierarchic.add(gdstk.Reference(l1i_tag_array_contact_21, (55.5,52.2)))
c_l1i_tag_array_hierarchic.add(gdstk.Reference(l1i_tag_array_contact_17, (55.7,52.4)))
c_l1i_tag_array_hierarchic.add(gdstk.Reference(l1i_tag_array_contact_18, (55.7,52.4)))
c_l1i_tag_array_hierarchic.add(gdstk.Reference(l1i_tag_array_contact_21, (55.5,52.2)))
c_l1i_tag_array_hierarchic.add(gdstk.Reference(l1i_tag_array_contact_17, (55.7,78.8)))
c_l1i_tag_array_hierarchic.add(gdstk.Reference(l1i_tag_array_contact_18, (55.7,78.8)))
c_l1i_tag_array_hierarchic.add(gdstk.Reference(l1i_tag_array_contact_21, (55.5,78.6)))
c_l1i_tag_array_hierarchic.add(gdstk.Reference(l1i_tag_array_contact_17, (55.7,78.8)))
c_l1i_tag_array_hierarchic.add(gdstk.Reference(l1i_tag_array_contact_18, (55.7,78.8)))
c_l1i_tag_array_hierarchic.add(gdstk.Reference(l1i_tag_array_contact_21, (55.5,78.6)))
c_l1i_tag_array_hierarchic.add(gdstk.Reference(l1i_tag_array_contact_17, (55.7,105.2)))
c_l1i_tag_array_hierarchic.add(gdstk.Reference(l1i_tag_array_contact_18, (55.7,105.2)))
c_l1i_tag_array_hierarchic.add(gdstk.Reference(l1i_tag_array_contact_21, (55.5,105)))
c_l1i_tag_array_hierarchic.add(gdstk.Reference(l1i_tag_array_contact_17, (55.7,105.2)))
c_l1i_tag_array_hierarchic.add(gdstk.Reference(l1i_tag_array_contact_18, (55.7,105.2)))
c_l1i_tag_array_hierarchic.add(gdstk.Reference(l1i_tag_array_contact_21, (55.5,105)))
c_l1i_tag_array_hierarchic.add(gdstk.Reference(l1i_tag_array_contact_17, (55.7,131.6)))
c_l1i_tag_array_hierarchic.add(gdstk.Reference(l1i_tag_array_contact_18, (55.7,131.6)))
c_l1i_tag_array_hierarchic.add(gdstk.Reference(l1i_tag_array_contact_21, (55.5,131.4)))
c_l1i_tag_array_hierarchic.add(gdstk.Reference(l1i_tag_array_contact_17, (55.7,131.6)))
c_l1i_tag_array_hierarchic.add(gdstk.Reference(l1i_tag_array_contact_18, (55.7,131.6)))
c_l1i_tag_array_hierarchic.add(gdstk.Reference(l1i_tag_array_contact_21, (55.5,131.4)))
c_l1i_tag_array_hierarchic.add(gdstk.Reference(l1i_tag_array_contact_17, (55.7,158)))
c_l1i_tag_array_hierarchic.add(gdstk.Reference(l1i_tag_array_contact_18, (55.7,158)))
c_l1i_tag_array_hierarchic.add(gdstk.Reference(l1i_tag_array_contact_21, (55.5,157.8)))
c_l1i_tag_array_hierarchic.add(gdstk.Reference(l1i_tag_array_contact_17, (55.7,158)))
c_l1i_tag_array_hierarchic.add(gdstk.Reference(l1i_tag_array_contact_18, (55.7,158)))
c_l1i_tag_array_hierarchic.add(gdstk.Reference(l1i_tag_array_contact_21, (55.5,157.8)))
c_l1i_tag_array_hierarchic.add(gdstk.Reference(l1i_tag_array_contact_17, (55.7,184.4)))
c_l1i_tag_array_hierarchic.add(gdstk.Reference(l1i_tag_array_contact_18, (55.7,184.4)))
c_l1i_tag_array_hierarchic.add(gdstk.Reference(l1i_tag_array_contact_21, (55.5,184.2)))
c_l1i_tag_array_hierarchic.add(gdstk.Reference(l1i_tag_array_contact_17, (55.7,184.4)))
c_l1i_tag_array_hierarchic.add(gdstk.Reference(l1i_tag_array_contact_18, (55.7,184.4)))
c_l1i_tag_array_hierarchic.add(gdstk.Reference(l1i_tag_array_contact_21, (55.5,184.2)))
c_l1i_tag_array_hierarchic.add(gdstk.Reference(l1i_tag_array_contact_17, (55.7,210.8)))
c_l1i_tag_array_hierarchic.add(gdstk.Reference(l1i_tag_array_contact_18, (55.7,210.8)))
c_l1i_tag_array_hierarchic.add(gdstk.Reference(l1i_tag_array_contact_21, (55.5,210.6)))
c_l1i_tag_array_hierarchic.add(gdstk.Label('addr_0', (0.4,66), layer=51, texttype=0))
c_l1i_tag_array_hierarchic.add(gdstk.Label('addr_1', (1.8,66), layer=51, texttype=0))
c_l1i_tag_array_hierarchic.add(gdstk.Label('addr_2', (3.2,66), layer=51, texttype=0))
c_l1i_tag_array_hierarchic.add(gdstk.Label('addr_3', (4.6,66), layer=51, texttype=0))
c_l1i_tag_array_hierarchic.add(gdstk.Label('decode_0', (68.6,6.4), layer=49, texttype=0))
c_l1i_tag_array_hierarchic.add(gdstk.Label('decode_1', (68.6,20), layer=49, texttype=0))
c_l1i_tag_array_hierarchic.add(gdstk.Label('decode_2', (68.6,32.8), layer=49, texttype=0))
c_l1i_tag_array_hierarchic.add(gdstk.Label('decode_3', (68.6,46.4), layer=49, texttype=0))
c_l1i_tag_array_hierarchic.add(gdstk.Label('decode_4', (68.6,59.2), layer=49, texttype=0))
c_l1i_tag_array_hierarchic.add(gdstk.Label('decode_5', (68.6,72.8), layer=49, texttype=0))
c_l1i_tag_array_hierarchic.add(gdstk.Label('decode_6', (68.6,85.6), layer=49, texttype=0))
c_l1i_tag_array_hierarchic.add(gdstk.Label('decode_7', (68.6,99.2), layer=49, texttype=0))
c_l1i_tag_array_hierarchic.add(gdstk.Label('decode_8', (68.6,112), layer=49, texttype=0))
c_l1i_tag_array_hierarchic.add(gdstk.Label('decode_9', (68.6,125.6), layer=49, texttype=0))
c_l1i_tag_array_hierarchic.add(gdstk.Label('decode_10', (68.6,138.4), layer=49, texttype=0))
c_l1i_tag_array_hierarchic.add(gdstk.Label('decode_11', (68.6,152), layer=49, texttype=0))
c_l1i_tag_array_hierarchic.add(gdstk.Label('decode_12', (68.6,164.8), layer=49, texttype=0))
c_l1i_tag_array_hierarchic.add(gdstk.Label('decode_13', (68.6,178.4), layer=49, texttype=0))
c_l1i_tag_array_hierarchic.add(gdstk.Label('decode_14', (68.6,191.2), layer=49, texttype=0))
c_l1i_tag_array_hierarchic.add(gdstk.Label('decode_15', (68.6,204.8), layer=49, texttype=0))
c_l1i_tag_array_hierarchic.add(gdstk.Label('vdd', (26.3,92.4), layer=62, texttype=0))
c_l1i_tag_array_hierarchic.add(gdstk.Label('vdd', (71.3,105.9), layer=31, texttype=0))
c_l1i_tag_array_hierarchic.add(gdstk.Label('vdd', (26.3,13.2), layer=62, texttype=0))
c_l1i_tag_array_hierarchic.add(gdstk.Label('vdd', (26.3,39.6), layer=62, texttype=0))
c_l1i_tag_array_hierarchic.add(gdstk.Label('vdd', (26.3,118.8), layer=62, texttype=0))
c_l1i_tag_array_hierarchic.add(gdstk.Label('gnd', (11.3,26.4), layer=62, texttype=0))
c_l1i_tag_array_hierarchic.add(gdstk.Label('gnd', (11.3,52.8), layer=62, texttype=0))
c_l1i_tag_array_hierarchic.add(gdstk.Label('gnd', (11.3,0), layer=62, texttype=0))
c_l1i_tag_array_hierarchic.add(gdstk.Label('gnd', (11.3,105.6), layer=62, texttype=0))
c_l1i_tag_array_hierarchic.add(gdstk.Label('gnd', (56.1,105.75), layer=31, texttype=0))
c_l1i_tag_array_hierarchic.add(gdstk.Label('gnd', (11.3,132), layer=62, texttype=0))
c_l1i_tag_array_hierarchic.add(gdstk.Label('gnd', (11.3,79.2), layer=62, texttype=0))

lib.write_gds('l1i_tag_array_hierarchical_decoder.gds')
